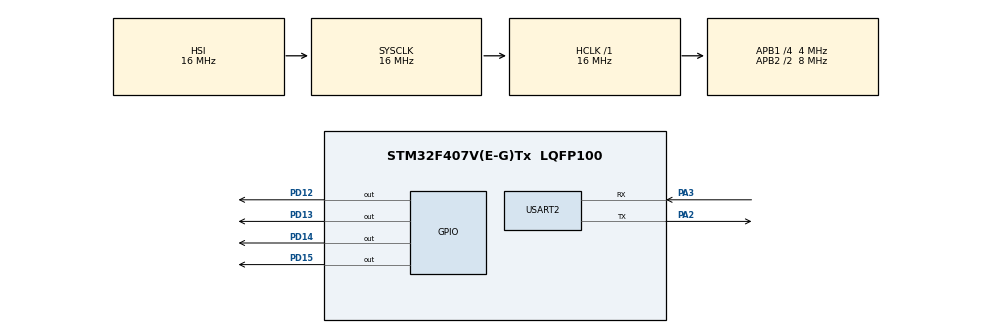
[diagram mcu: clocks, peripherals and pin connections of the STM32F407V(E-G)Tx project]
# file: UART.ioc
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Mcu.Family=STM32F4
Mcu.Name=STM32F407V(E-G)Tx
Mcu.Package=LQFP100
NVIC.PriorityGroup=NVIC_PRIORITYGROUP_0
PA13.Mode=Serial_Wire
PA13.Signal=SYS_JTMS-SWDIO
PA14.Mode=Serial_Wire
PA14.Signal=SYS_JTCK-SWCLK
PA2.Mode=Asynchronous
PA2.Signal=USART2_TX
PA3.Mode=Asynchronous
PA3.Signal=USART2_RX
PD12.Signal=GPIO_Output
PD13.Signal=GPIO_Output
PD14.Signal=GPIO_Output
PD15.Signal=GPIO_Output
ProjectManager.HeapSize=0x200
ProjectManager.StackSize=0x400
ProjectManager.TargetToolchain=STM32CubeIDE
RCC.48MHZClocksFreq_Value=96000000
RCC.AHBFreq_Value=16000000
RCC.APB1CLKDivider=RCC_HCLK_DIV4
RCC.APB1Freq_Value=4000000
RCC.APB1TimFreq_Value=8000000
RCC.APB2CLKDivider=RCC_HCLK_DIV2
RCC.APB2Freq_Value=8000000
RCC.APB2TimFreq_Value=16000000
RCC.CortexFreq_Value=16000000
RCC.HCLKFreq_Value=16000000
RCC.HSE_VALUE=8000000
RCC.HSI_VALUE=16000000
RCC.LSE_VALUE=32768
RCC.PLLM=8
RCC.PLLN=336
RCC.PLLQ=7
RCC.SYSCLKFreq_VALUE=16000000
RCC.VCOOutputFreq_Value=672000000
USART2.VirtualMode=VM_ASYNC
board=STM32F407G-DISC1

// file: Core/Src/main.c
/* USER CODE BEGIN Header */
/**
  ******************************************************************************
  * @file           : main.c
  * @brief          : Main program body
  ******************************************************************************
  * @attention
  *
  * Copyright (c) 2026 STMicroelectronics.
  * All rights reserved.
  *
  * This software is licensed under terms that can be found in the LICENSE file
  * in the root directory of this software component.
  * If no LICENSE file comes with this software, it is provided AS-IS.
  *
  ******************************************************************************
  */
/* USER CODE END Header */
#include "main.h"
#include<stdio.h>

UART_HandleTypeDef huart2;

/* USER CODE BEGIN PV */
int _write(int file, char *ptr, int len){
	HAL_UART_Transmit(&huart2, (uint8_t*)ptr, len, HAL_MAX_DELAY);
	return len;
}

/* USER CODE END PV */

void SystemClock_Config(void);
static void MX_GPIO_Init(void);
static void MX_USART2_UART_Init(void);

int main(void)
{

  /* MCU Configuration--------------------------------------------------------*/

  /* Reset of all peripherals, Initializes the Flash interface and the Systick. */
  HAL_Init();

  /* Configure the system clock */
  SystemClock_Config();

  /* Initialize all configured peripherals */
  MX_GPIO_Init();
  MX_USART2_UART_Init();
  /* USER CODE BEGIN 2 */
  uint8_t count = 0;
  printf("Hello from stm32\r\n");
  /* USER CODE END 2 */

  /* Infinite loop */
  while (1)
    {

    /* USER CODE BEGIN 3 */
  	  HAL_GPIO_WritePin(GPIOD, GPIO_PIN_12, 1);
  	  printf("Green LED ON \r\n");
  	  HAL_Delay(1500);
  	  HAL_GPIO_WritePin(GPIOD, GPIO_PIN_12, 0);
  	  printf("Green LED OFF \r\n");
  	  HAL_Delay(1500);

  	  HAL_GPIO_WritePin(GPIOD, GPIO_PIN_13, 1);
  	  printf("Orange LED ON \r\n");
  	  HAL_Delay(1500);
  	  HAL_GPIO_WritePin(GPIOD, GPIO_PIN_13, 0);
  	  printf("Orange LED OFF \r\n");
  	  HAL_Delay(1500);

  	  HAL_GPIO_WritePin(GPIOD, GPIO_PIN_14, 1);
  	  printf("Red LED ON \r\n");
        HAL_Delay(1500);
  	  HAL_GPIO_WritePin(GPIOD, GPIO_PIN_14, 0);
  	  printf("Red LED OFF \r\n");
  	  HAL_Delay(1500);

  	  HAL_GPIO_WritePin(GPIOD, GPIO_PIN_15, 1);
  	  printf("Blue LED ON \r\n");
  	  HAL_Delay(1500);
  	  HAL_GPIO_WritePin(GPIOD, GPIO_PIN_15, 0);
  	  printf("Blue LED OFF \r\n");
  	  HAL_Delay(1500);

  	  printf("%d round of led's are OVER \r\n",count+1);
  	  HAL_Delay(1000);
  	  count ++;

    }
  /* USER CODE END 3 */
}

void SystemClock_Config(void)
{
  RCC_OscInitTypeDef RCC_OscInitStruct = {0};
  RCC_ClkInitTypeDef RCC_ClkInitStruct = {0};

  /** Configure the main internal regulator output voltage
  */
  __HAL_RCC_PWR_CLK_ENABLE();
  __HAL_PWR_VOLTAGESCALING_CONFIG(PWR_REGULATOR_VOLTAGE_SCALE1);

  /** Initializes the RCC Oscillators according to the specified parameters
  * in the RCC_OscInitTypeDef structure.
  */
  RCC_OscInitStruct.OscillatorType = RCC_OSCILLATORTYPE_HSI;
  RCC_OscInitStruct.HSIState = RCC_HSI_ON;
  RCC_OscInitStruct.HSICalibrationValue = RCC_HSICALIBRATION_DEFAULT;
  RCC_OscInitStruct.PLL.PLLState = RCC_PLL_NONE;
  if (HAL_RCC_OscConfig(&RCC_OscInitStruct) != HAL_OK)
  {
    Error_Handler();
  }

  /** Initializes the CPU, AHB and APB buses clocks
  */
  RCC_ClkInitStruct.ClockType = RCC_CLOCKTYPE_HCLK|RCC_CLOCKTYPE_SYSCLK
                              |RCC_CLOCKTYPE_PCLK1|RCC_CLOCKTYPE_PCLK2;
  RCC_ClkInitStruct.SYSCLKSource = RCC_SYSCLKSOURCE_HSI;
  RCC_ClkInitStruct.AHBCLKDivider = RCC_SYSCLK_DIV1;
  RCC_ClkInitStruct.APB1CLKDivider = RCC_HCLK_DIV4;
  RCC_ClkInitStruct.APB2CLKDivider = RCC_HCLK_DIV2;

  if (HAL_RCC_ClockConfig(&RCC_ClkInitStruct, FLASH_LATENCY_0) != HAL_OK)
  {
    Error_Handler();
  }
}

static void MX_USART2_UART_Init(void)
{

  huart2.Instance = USART2;
  huart2.Init.BaudRate = 115200;
  huart2.Init.WordLength = UART_WORDLENGTH_8B;
  huart2.Init.StopBits = UART_STOPBITS_1;
  huart2.Init.Parity = UART_PARITY_NONE;
  huart2.Init.Mode = UART_MODE_TX_RX;
  huart2.Init.HwFlowCtl = UART_HWCONTROL_NONE;
  huart2.Init.OverSampling = UART_OVERSAMPLING_16;
  if (HAL_UART_Init(&huart2) != HAL_OK)
  {
    Error_Handler();
  }

}

static void MX_GPIO_Init(void)
{
  GPIO_InitTypeDef GPIO_InitStruct = {0};

  /* GPIO Ports Clock Enable */
  __HAL_RCC_GPIOA_CLK_ENABLE();
  __HAL_RCC_GPIOD_CLK_ENABLE();

  /*Configure GPIO pin Output Level */
  HAL_GPIO_WritePin(GPIOD, GPIO_PIN_12|GPIO_PIN_13|GPIO_PIN_14|GPIO_PIN_15, GPIO_PIN_RESET);

  /*Configure GPIO pins : PD12 PD13 PD14 PD15 */
  GPIO_InitStruct.Pin = GPIO_PIN_12|GPIO_PIN_13|GPIO_PIN_14|GPIO_PIN_15;
  GPIO_InitStruct.Mode = GPIO_MODE_OUTPUT_PP;
  GPIO_InitStruct.Pull = GPIO_NOPULL;
  GPIO_InitStruct.Speed = GPIO_SPEED_FREQ_LOW;
  HAL_GPIO_Init(GPIOD, &GPIO_InitStruct);

}

void Error_Handler(void)
{
  __disable_irq();
  while (1)
  {
  }
}
